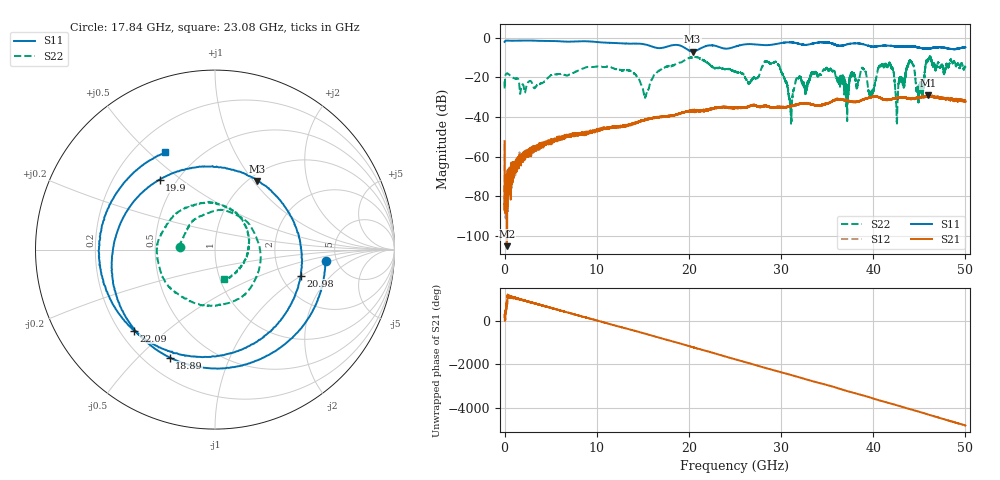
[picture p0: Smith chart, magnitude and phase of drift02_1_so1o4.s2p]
!Created with skrf (http://scikit-rf.org).
# Hz S RI R 50.0
!freq ReS11 ImS11 ReS21 ImS21 ReS12 ImS12 ReS22 ImS22
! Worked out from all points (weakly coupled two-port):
!   10001 points, 300 kHz to 50 GHz, reference 50 ohm
!   highest |S21| = -29.09 dB at 45.97 GHz (marker M1); lowest = -105.1 dB at 245.3 MHz (marker M2)
!   lowest |S11| = -7.0 dB at 20.4 GHz (marker M3), VSWR 2.63, Z = 54.5 + j52.3 ohm
!   |S11| at or under -10 dB: nowhere
!   |S22| runs from -44.0 to -9.2 dB; largest |S21 - S12| = 0.0035
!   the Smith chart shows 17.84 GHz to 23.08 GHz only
!   S11 on the Smith chart (normalised r, x): 17.84 GHz: 4.07, -0.83; 18.89 GHz: 0.30, -0.62; 19.9 GHz: 0.40, +0.42; 20.98 GHz: 2.55, -0.99; 22.09 GHz: 0.26, -0.39; 23.08 GHz: 0.33, +0.56
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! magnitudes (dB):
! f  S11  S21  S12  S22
! 300 kHz  -2.1  -52.1  -53.5  -21.9
! 245.3 MHz  -1.4  -105.1  -77.5  -18.0
! 8.335 GHz  -1.7  -48.0  -48.3  -15.8
! 15.29 GHz  -3.4  -41.3  -41.6  -29.7
! 16.67 GHz  -5.2  -40.1  -40.0  -16.8
! 17.84 GHz  -4.2  -39.4  -39.5  -14.1
! 18.89 GHz  -3.7  -38.5  -38.4  -12.7
! 19.9 GHz  -6.1  -36.9  -37.0  -10.3
! 20.4 GHz  -7.0  -36.5  -36.6  -9.8
! 20.98 GHz  -6.0  -36.6  -36.6  -9.8
! 22.09 GHz  -3.9  -36.3  -36.3  -12.8
! 23.08 GHz  -4.3  -35.4  -35.4  -15.2
! 25 GHz  -4.5  -35.4  -35.4  -17.2
! 29.5 GHz  -3.1  -34.9  -35.3  -12.5
! 31.04 GHz  -2.3  -34.5  -34.8  -37.2
! 33.34 GHz  -3.1  -33.6  -33.4  -17.4
! 38.92 GHz  -3.3  -31.2  -31.1  -15.8
! 39.76 GHz  -4.3  -30.0  -30.0  -27.5
! 41.67 GHz  -4.0  -31.1  -31.0  -13.6
! 42.58 GHz  -4.3  -30.4  -30.2  -40.9
! 45.97 GHz  -5.4  -29.1  -29.4  -10.6
! 50 GHz  -4.8  -32.2  -32.1  -15.1
